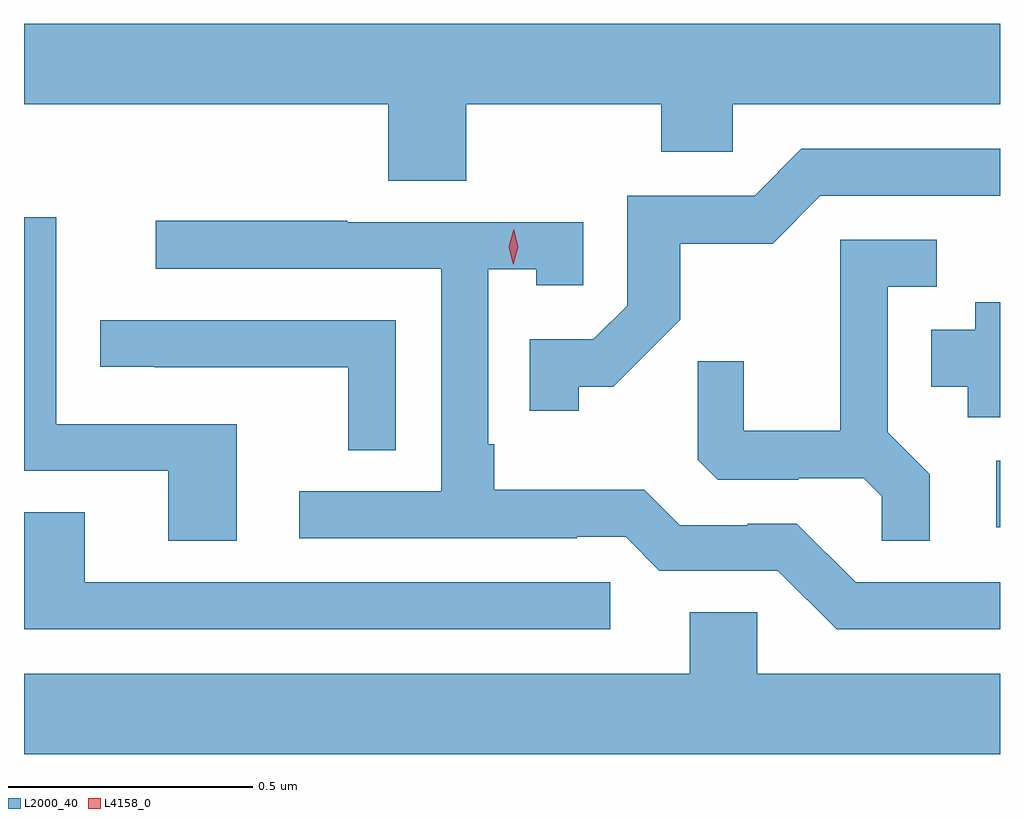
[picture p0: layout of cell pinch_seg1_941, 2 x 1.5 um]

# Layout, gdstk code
import gdstk
lib = gdstk.Library(unit=1e-6, precision=1e-09)
def R(c, l, rs):  # rectangles x0, y0, x1, y1
    for r in rs: c.add(gdstk.rectangle(r[:2], r[2:], *l))
def P(c, l, *ps):  # polygons
    for p in ps: c.add(gdstk.Polygon(p, *l))
L2000_40 = (2000, 40)
L4158_0 = (4158, 0)

pinch_seg1_941 = lib.new_cell('pinch_seg1_941')
R(pinch_seg1_941, L2000_40, [(275.937,578.837,275.945,578.973)])
P(pinch_seg1_941, L2000_40, [(274.851,579.704),(275.251,579.704),(275.251,579.606),(275.397,579.606),(275.397,579.704),(275.945,579.704),(275.945,579.868),(273.945,579.868),(273.945,579.704),(274.691,579.704),(274.691,579.547),(274.851,579.547)],
  [(275.082,579.125),(275.152,579.125),(275.29,579.262),(275.29,579.418),(275.479,579.418),(275.577,579.516),(275.945,579.516),(275.945,579.612),(275.538,579.612),(275.442,579.516),(275.181,579.516),(275.181,579.291),(275.112,579.222),(274.981,579.222),(274.981,579.075),(275.082,579.075)],
  [(274.381,579.048),(274.011,579.048),(274.011,579.472),(273.945,579.472),(273.945,578.952),(274.241,578.952),(274.241,578.809),(274.381,578.809)],
  [(275.945,578.724),(275.649,578.724),(275.529,578.844),(275.428,578.844),(275.428,578.841),(275.289,578.841),(275.216,578.914),(274.909,578.914),(274.909,579.007),(274.896,579.007),(274.896,579.365),(274.995,579.365),(274.995,579.333),(275.091,579.333),(275.091,579.462),(274.607,579.462),(274.607,579.465),(274.215,579.465),(274.215,579.366),(274.8,579.366),(274.8,578.91),(274.509,578.91),(274.509,578.814),(275.078,578.814),(275.078,578.817),(275.178,578.817),(275.247,578.748),(275.49,578.748),(275.61,578.628),(275.945,578.628)],
  [(275.801,578.945),(275.715,579.031),(275.715,579.33),(275.815,579.33),(275.815,579.426),(275.618,579.426),(275.618,579.034),(275.42,579.034),(275.42,579.177),(275.326,579.177),(275.326,578.975),(275.367,578.934),(275.532,578.934),(275.532,578.937),(275.666,578.937),(275.703,578.9),(275.703,578.809),(275.801,578.809)],
  [(275.945,579.298),(275.894,579.298),(275.894,579.241),(275.804,579.241),(275.804,579.125),(275.879,579.125),(275.879,579.062),(275.945,579.062)],
  [(274.707,579.261),(274.101,579.261),(274.101,579.166),(274.213,579.166),(274.213,579.165),(274.609,579.165),(274.609,578.995),(274.707,578.995)],
  [(275.146,578.724),(274.069,578.724),(274.069,578.867),(273.945,578.867),(273.945,578.628),(275.146,578.628)],
  [(275.945,578.536),(275.448,578.536),(275.448,578.663),(275.309,578.663),(275.309,578.536),(273.945,578.536),(273.945,578.372),(275.945,578.372)])
P(pinch_seg1_941, L4158_0, [(274.948,579.375),(274.948,579.375),(274.938,579.411),(274.949,579.447),(274.949,579.447),(274.949,579.447),(274.958,579.411),(274.948,579.375)])

lib.write_gds('pinch_seg1_941.gds')
